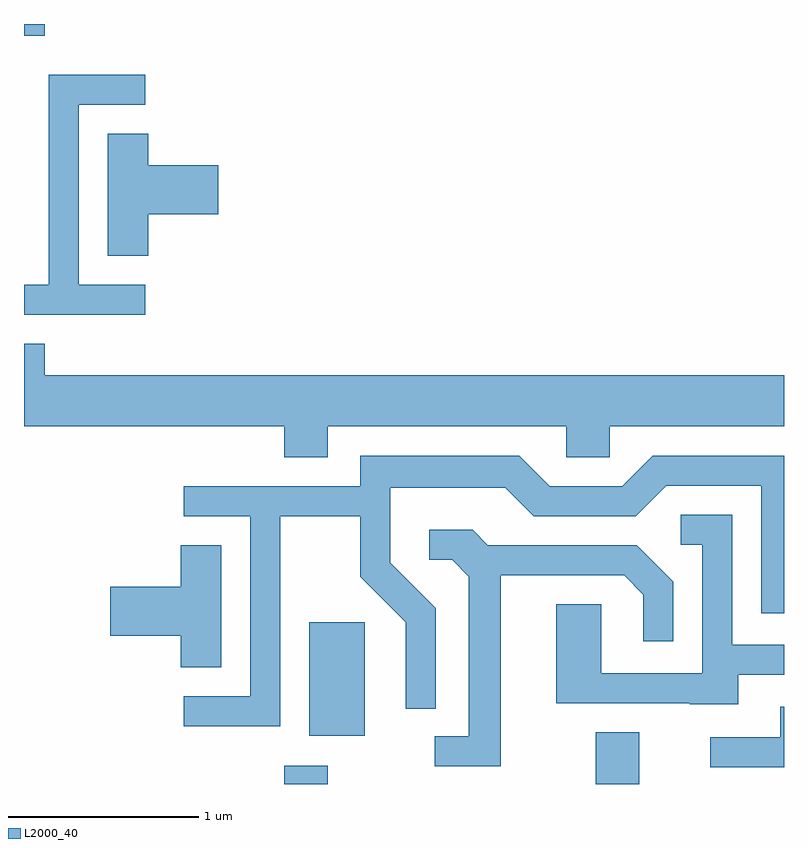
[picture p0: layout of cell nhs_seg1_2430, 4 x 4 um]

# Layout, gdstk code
import gdstk
lib = gdstk.Library(unit=1e-6, precision=1e-09)
def R(c, l, rs):  # rectangles x0, y0, x1, y1
    for r in rs: c.add(gdstk.rectangle(r[:2], r[2:], *l))
def P(c, l, *ps):  # polygons
    for p in ps: c.add(gdstk.Polygon(p, *l))
L2000_40 = (2000, 40)

nhs_seg1_2430 = lib.new_cell('nhs_seg1_2430')
R(nhs_seg1_2430, L2000_40, [(260.981,877.712,261.209,877.809), (262.621,877.712,262.849,877.984), (261.111,877.966,261.404,878.564), (259.611,881.651,259.719,881.712)])
P(nhs_seg1_2430, L2000_40, [(260.248,880.339),(259.899,880.339),(259.899,881.286),(260.248,881.286),(260.248,881.444),(259.741,881.444),(259.741,880.339),(259.611,880.339),(259.611,880.181),(260.248,880.181)],
  [(260.264,880.711),(260.634,880.711),(260.634,880.969),(260.264,880.969),(260.264,881.134),(260.051,881.134),(260.051,880.491),(260.264,880.491)],
  [(261.209,879.596),(262.466,879.596),(262.466,879.431),(262.694,879.431),(262.694,879.596),(263.611,879.596),(263.611,879.864),(259.719,879.864),(259.719,880.029),(259.611,880.029),(259.611,879.596),(260.981,879.596),(260.981,879.431),(261.209,879.431)],
  [(260.959,879.121),(261.381,879.121),(261.381,878.804),(261.621,878.564),(261.621,878.108),(261.779,878.108),(261.779,878.637),(261.539,878.877),(261.539,879.271),(262.144,879.271),(262.294,879.121),(262.832,879.121),(262.992,879.281),(263.491,879.281),(263.491,878.611),(263.611,878.611),(263.611,879.439),(262.919,879.439),(262.759,879.279),(262.377,879.279),(262.217,879.439),(261.381,879.439),(261.381,879.279),(260.453,879.279),(260.453,879.121),(260.801,879.121),(260.801,878.174),(260.453,878.174),(260.453,878.016),(260.959,878.016)],
  [(263.369,878.286),(263.611,878.286),(263.611,878.444),(263.339,878.444),(263.339,879.129),(263.068,879.129),(263.068,878.971),(263.181,878.971),(263.181,878.294),(262.649,878.294),(262.649,878.659),(262.411,878.659),(262.411,878.136),(263.115,878.136),(263.115,878.131),(263.369,878.131)],
  [(262.119,878.811),(262.769,878.811),(262.871,878.709),(262.871,878.463),(263.029,878.463),(263.029,878.777),(262.837,878.969),(262.052,878.969),(261.972,879.049),(261.743,879.049),(261.743,878.891),(261.864,878.891),(261.951,878.804),(261.951,877.964),(261.772,877.964),(261.772,877.806),(262.119,877.806)],
  [(260.649,878.969),(260.436,878.969),(260.436,878.749),(260.066,878.749),(260.066,878.491),(260.436,878.491),(260.436,878.326),(260.649,878.326)],
  [(263.611,878.119),(263.591,878.119),(263.591,877.959),(263.223,877.959),(263.223,877.801),(263.611,877.801)])

lib.write_gds('nhs_seg1_2430.gds')
